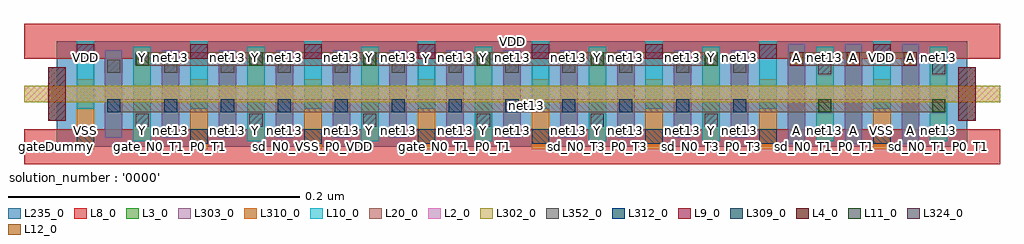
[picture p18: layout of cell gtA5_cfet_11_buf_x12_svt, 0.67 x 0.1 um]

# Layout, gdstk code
import gdstk
lib = gdstk.Library(unit=1e-6, precision=2.5e-10)
def R(c, l, rs):  # rectangles x0, y0, x1, y1
    for r in rs: c.add(gdstk.rectangle(r[:2], r[2:], *l))
def A(c, l, x, y, w, h, nx, ny, dx, dy):  # array of equal rectangles
    R(c, l, [(x+i*dx, y+j*dy, x+i*dx+w, y+j*dy+h) for i in range(nx) for j in range(ny)])
L2_0 = (2, 0)
L3_0 = (3, 0)
L4_0 = (4, 0)
L8_0 = (8, 0)
L9_0 = (9, 0)
L10_0 = (10, 0)
L11_0 = (11, 0)
L12_0 = (12, 0)
L20_0 = (20, 0)
L235_0 = (235, 0)
L302_0 = (302, 0)
L303_0 = (303, 0)
L309_0 = (309, 0)
L310_0 = (310, 0)
L312_0 = (312, 0)
L324_0 = (324, 0)
L352_0 = (352, 0)

gta5_cfet_11_buf_x12_svt = lib.new_cell('gtA5_cfet_11_buf_x12_svt')
R(gta5_cfet_11_buf_x12_svt, L2_0, [(-0.0225,0.0305,0.6465,0.0415)])
A(gta5_cfet_11_buf_x12_svt, L3_0, 0.501, 0.0015, 0.012, 0.069, 3, 1, 0.039, 0)
A(gta5_cfet_11_buf_x12_svt, L3_0, 0.033, 0.006, 0.012, 0.06, 12, 1, 0.039, 0)
R(gta5_cfet_11_buf_x12_svt, L3_0, [(-0.006,0.0175,0.006,0.0545), (0.618,0.0175,0.63,0.0545)])
R(gta5_cfet_11_buf_x12_svt, L4_0, [(-0.006,0.0175,0.006,0.0545), (0.618,0.0175,0.63,0.0545)])
R(gta5_cfet_11_buf_x12_svt, L8_0, [(-0.0225,-0.012,0.6465,0.012), (-0.0225,0.06,0.6465,0.084)])
A(gta5_cfet_11_buf_x12_svt, L9_0, 0.0135, 0.06, 0.012, 0.01, 8, 1, 0.078, 0)
A(gta5_cfet_11_buf_x12_svt, L10_0, 0.0525, 0.0035, 0.012, 0.065, 8, 1, 0.078, 0)
A(gta5_cfet_11_buf_x12_svt, L10_0, 0.0135, 0.026, 0.012, 0.046, 8, 1, 0.078, 0)
A(gta5_cfet_11_buf_x12_svt, L11_0, 0.054, 0.0555, 0.009, 0.009, 6, 1, 0.078, 0)
R(gta5_cfet_11_buf_x12_svt, L11_0, [(0.522,0.0235,0.531,0.0325), (0.6,0.0235,0.609,0.0325)])
A(gta5_cfet_11_buf_x12_svt, L12_0, 0.5025, 0.0555, 0.009, 0.009, 3, 1, 0.039, 0)
R(gta5_cfet_11_buf_x12_svt, L20_0, [(0.0345,0.0235,0.609,0.0325), (0.054,0.0555,0.453,0.0645), (0.5025,0.0555,0.5895,0.0645)])
R(gta5_cfet_11_buf_x12_svt, L235_0, [(0,0,0.624,0.072)])
R(gta5_cfet_11_buf_x12_svt, L302_0, [(-0.0225,0.0305,0.6465,0.0415)])
A(gta5_cfet_11_buf_x12_svt, L303_0, 0.501, 0.0015, 0.012, 0.069, 3, 1, 0.039, 0)
A(gta5_cfet_11_buf_x12_svt, L303_0, 0.033, 0.006, 0.012, 0.06, 12, 1, 0.039, 0)
R(gta5_cfet_11_buf_x12_svt, L303_0, [(-0.006,0.0175,0.006,0.0545), (0.618,0.0175,0.63,0.0545)])
A(gta5_cfet_11_buf_x12_svt, L309_0, 0.0135, 0.002, 0.012, 0.01, 8, 1, 0.078, 0)
A(gta5_cfet_11_buf_x12_svt, L310_0, 0.0135, -0.002, 0.012, 0.048, 8, 1, 0.078, 0)
A(gta5_cfet_11_buf_x12_svt, L310_0, 0.0525, 0.0035, 0.012, 0.065, 8, 1, 0.078, 0)
A(gta5_cfet_11_buf_x12_svt, L312_0, 0.0345, 0.0235, 0.009, 0.009, 12, 1, 0.039, 0)
A(gta5_cfet_11_buf_x12_svt, L324_0, 0.054, 0.0135, 0.009, 0.009, 6, 1, 0.078, 0)
R(gta5_cfet_11_buf_x12_svt, L324_0, [(0.522,0.0495,0.531,0.0585), (0.6,0.0495,0.609,0.0585)])
A(gta5_cfet_11_buf_x12_svt, L352_0, 0.0345, 0.0505, 0.009, 0.009, 12, 1, 0.039, 0)
gta5_cfet_11_buf_x12_svt.add(gdstk.Label('net13', (0.3217,0.028), layer=100, texttype=100))
gta5_cfet_11_buf_x12_svt.add(gdstk.Label('gateDummy', (0,0), layer=103, texttype=103))
gta5_cfet_11_buf_x12_svt.add(gdstk.Label('sd_N0_VSS_P0_VDD', (0.0195,0), layer=103, texttype=103))
gta5_cfet_11_buf_x12_svt.add(gdstk.Label('gate_N0_T1_P0_T1', (0.039,0), layer=103, texttype=103))
gta5_cfet_11_buf_x12_svt.add(gdstk.Label('sd_N0_T3_P0_T3', (0.0585,0), layer=103, texttype=103))
gta5_cfet_11_buf_x12_svt.add(gdstk.Label('gate_N0_T1_P0_T1', (0.078,0), layer=103, texttype=103))
gta5_cfet_11_buf_x12_svt.add(gdstk.Label('sd_N0_VSS_P0_VDD', (0.0975,0), layer=103, texttype=103))
gta5_cfet_11_buf_x12_svt.add(gdstk.Label('gate_N0_T1_P0_T1', (0.117,0), layer=103, texttype=103))
gta5_cfet_11_buf_x12_svt.add(gdstk.Label('sd_N0_T3_P0_T3', (0.1365,0), layer=103, texttype=103))
gta5_cfet_11_buf_x12_svt.add(gdstk.Label('gate_N0_T1_P0_T1', (0.156,0), layer=103, texttype=103))
gta5_cfet_11_buf_x12_svt.add(gdstk.Label('sd_N0_VSS_P0_VDD', (0.1755,0), layer=103, texttype=103))
gta5_cfet_11_buf_x12_svt.add(gdstk.Label('gate_N0_T1_P0_T1', (0.195,0), layer=103, texttype=103))
gta5_cfet_11_buf_x12_svt.add(gdstk.Label('sd_N0_T3_P0_T3', (0.2145,0), layer=103, texttype=103))
gta5_cfet_11_buf_x12_svt.add(gdstk.Label('gate_N0_T1_P0_T1', (0.234,0), layer=103, texttype=103))
gta5_cfet_11_buf_x12_svt.add(gdstk.Label('sd_N0_VSS_P0_VDD', (0.2535,0), layer=103, texttype=103))
gta5_cfet_11_buf_x12_svt.add(gdstk.Label('gate_N0_T1_P0_T1', (0.273,0), layer=103, texttype=103))
gta5_cfet_11_buf_x12_svt.add(gdstk.Label('sd_N0_T3_P0_T3', (0.2925,0), layer=103, texttype=103))
gta5_cfet_11_buf_x12_svt.add(gdstk.Label('gate_N0_T1_P0_T1', (0.312,0), layer=103, texttype=103))
gta5_cfet_11_buf_x12_svt.add(gdstk.Label('sd_N0_VSS_P0_VDD', (0.3315,0), layer=103, texttype=103))
gta5_cfet_11_buf_x12_svt.add(gdstk.Label('gate_N0_T1_P0_T1', (0.351,0), layer=103, texttype=103))
gta5_cfet_11_buf_x12_svt.add(gdstk.Label('sd_N0_T3_P0_T3', (0.3705,0), layer=103, texttype=103))
gta5_cfet_11_buf_x12_svt.add(gdstk.Label('gate_N0_T1_P0_T1', (0.39,0), layer=103, texttype=103))
gta5_cfet_11_buf_x12_svt.add(gdstk.Label('sd_N0_VSS_P0_VDD', (0.4095,0), layer=103, texttype=103))
gta5_cfet_11_buf_x12_svt.add(gdstk.Label('gate_N0_T1_P0_T1', (0.429,0), layer=103, texttype=103))
gta5_cfet_11_buf_x12_svt.add(gdstk.Label('sd_N0_T3_P0_T3', (0.4485,0), layer=103, texttype=103))
gta5_cfet_11_buf_x12_svt.add(gdstk.Label('gate_N0_T1_P0_T1', (0.468,0), layer=103, texttype=103))
gta5_cfet_11_buf_x12_svt.add(gdstk.Label('sd_N0_VSS_P0_VDD', (0.4875,0), layer=103, texttype=103))
gta5_cfet_11_buf_x12_svt.add(gdstk.Label('gate_N0_T3_P0_T3', (0.507,0), layer=103, texttype=103))
gta5_cfet_11_buf_x12_svt.add(gdstk.Label('sd_N0_T1_P0_T1', (0.5265,0), layer=103, texttype=103))
gta5_cfet_11_buf_x12_svt.add(gdstk.Label('gate_N0_T3_P0_T3', (0.546,0), layer=103, texttype=103))
gta5_cfet_11_buf_x12_svt.add(gdstk.Label('sd_N0_VSS_P0_VDD', (0.5655,0), layer=103, texttype=103))
gta5_cfet_11_buf_x12_svt.add(gdstk.Label('gate_N0_T3_P0_T3', (0.585,0), layer=103, texttype=103))
gta5_cfet_11_buf_x12_svt.add(gdstk.Label('sd_N0_T1_P0_T1', (0.6045,0), layer=103, texttype=103))
gta5_cfet_11_buf_x12_svt.add(gdstk.Label('gateDummy', (0.624,0), layer=103, texttype=103))
gta5_cfet_11_buf_x12_svt.add(gdstk.Label('}', (0,-0.0785), layer=104, texttype=104))
gta5_cfet_11_buf_x12_svt.add(gdstk.Label('  power : None', (0,-0.0713), layer=104, texttype=104))
gta5_cfet_11_buf_x12_svt.add(gdstk.Label('  performance : None', (0,-0.0643), layer=104, texttype=104))
gta5_cfet_11_buf_x12_svt.add(gdstk.Label("  solution_hash : '7558278892173468965'", (0,-0.057), layer=104, texttype=104))
gta5_cfet_11_buf_x12_svt.add(gdstk.Label('  number_m2 : 0', (0,-0.05), layer=104, texttype=104))
gta5_cfet_11_buf_x12_svt.add(gdstk.Label('  number_m1 : 0', (0,-0.0428), layer=104, texttype=104))
gta5_cfet_11_buf_x12_svt.add(gdstk.Label('  number_m0cuts : 0', (0,-0.0358), layer=104, texttype=104))
gta5_cfet_11_buf_x12_svt.add(gdstk.Label('  number_m0 : 3', (0,-0.0285), layer=104, texttype=104))
gta5_cfet_11_buf_x12_svt.add(gdstk.Label("  solution_number : '0000'", (0,-0.0215), layer=104, texttype=104))
gta5_cfet_11_buf_x12_svt.add(gdstk.Label("  placement_id : '15716243056672750085'", (0,-0.0143), layer=104, texttype=104))
gta5_cfet_11_buf_x12_svt.add(gdstk.Label('{', (0,-0.0073), layer=104, texttype=104))
gta5_cfet_11_buf_x12_svt.add(gdstk.Label('VSS', (0.0195,0.0108), layer=105, texttype=105))
gta5_cfet_11_buf_x12_svt.add(gdstk.Label('net13', (0.039,0.0108), layer=105, texttype=105))
gta5_cfet_11_buf_x12_svt.add(gdstk.Label('Y', (0.0585,0.0108), layer=105, texttype=105))
gta5_cfet_11_buf_x12_svt.add(gdstk.Label('net13', (0.078,0.0108), layer=105, texttype=105))
gta5_cfet_11_buf_x12_svt.add(gdstk.Label('VSS', (0.0975,0.0108), layer=105, texttype=105))
gta5_cfet_11_buf_x12_svt.add(gdstk.Label('net13', (0.117,0.0108), layer=105, texttype=105))
gta5_cfet_11_buf_x12_svt.add(gdstk.Label('Y', (0.1365,0.0108), layer=105, texttype=105))
gta5_cfet_11_buf_x12_svt.add(gdstk.Label('net13', (0.156,0.0108), layer=105, texttype=105))
gta5_cfet_11_buf_x12_svt.add(gdstk.Label('VSS', (0.1755,0.0108), layer=105, texttype=105))
gta5_cfet_11_buf_x12_svt.add(gdstk.Label('net13', (0.195,0.0108), layer=105, texttype=105))
gta5_cfet_11_buf_x12_svt.add(gdstk.Label('Y', (0.2145,0.0108), layer=105, texttype=105))
gta5_cfet_11_buf_x12_svt.add(gdstk.Label('net13', (0.234,0.0108), layer=105, texttype=105))
gta5_cfet_11_buf_x12_svt.add(gdstk.Label('VSS', (0.2535,0.0108), layer=105, texttype=105))
gta5_cfet_11_buf_x12_svt.add(gdstk.Label('net13', (0.273,0.0108), layer=105, texttype=105))
gta5_cfet_11_buf_x12_svt.add(gdstk.Label('Y', (0.2925,0.0108), layer=105, texttype=105))
gta5_cfet_11_buf_x12_svt.add(gdstk.Label('net13', (0.312,0.0108), layer=105, texttype=105))
gta5_cfet_11_buf_x12_svt.add(gdstk.Label('VSS', (0.3315,0.0108), layer=105, texttype=105))
gta5_cfet_11_buf_x12_svt.add(gdstk.Label('net13', (0.351,0.0108), layer=105, texttype=105))
gta5_cfet_11_buf_x12_svt.add(gdstk.Label('Y', (0.3705,0.0108), layer=105, texttype=105))
gta5_cfet_11_buf_x12_svt.add(gdstk.Label('net13', (0.39,0.0108), layer=105, texttype=105))
gta5_cfet_11_buf_x12_svt.add(gdstk.Label('VSS', (0.4095,0.0108), layer=105, texttype=105))
gta5_cfet_11_buf_x12_svt.add(gdstk.Label('net13', (0.429,0.0108), layer=105, texttype=105))
gta5_cfet_11_buf_x12_svt.add(gdstk.Label('Y', (0.4485,0.0108), layer=105, texttype=105))
gta5_cfet_11_buf_x12_svt.add(gdstk.Label('net13', (0.468,0.0108), layer=105, texttype=105))
gta5_cfet_11_buf_x12_svt.add(gdstk.Label('VSS', (0.4875,0.0108), layer=105, texttype=105))
gta5_cfet_11_buf_x12_svt.add(gdstk.Label('A', (0.507,0.0108), layer=105, texttype=105))
gta5_cfet_11_buf_x12_svt.add(gdstk.Label('net13', (0.5265,0.0108), layer=105, texttype=105))
gta5_cfet_11_buf_x12_svt.add(gdstk.Label('A', (0.546,0.0108), layer=105, texttype=105))
gta5_cfet_11_buf_x12_svt.add(gdstk.Label('VSS', (0.5655,0.0108), layer=105, texttype=105))
gta5_cfet_11_buf_x12_svt.add(gdstk.Label('A', (0.585,0.0108), layer=105, texttype=105))
gta5_cfet_11_buf_x12_svt.add(gdstk.Label('net13', (0.6045,0.0108), layer=105, texttype=105))
gta5_cfet_11_buf_x12_svt.add(gdstk.Label('VDD', (0.0195,0.0612), layer=105, texttype=105))
gta5_cfet_11_buf_x12_svt.add(gdstk.Label('net13', (0.039,0.0612), layer=105, texttype=105))
gta5_cfet_11_buf_x12_svt.add(gdstk.Label('Y', (0.0585,0.0612), layer=105, texttype=105))
gta5_cfet_11_buf_x12_svt.add(gdstk.Label('net13', (0.078,0.0612), layer=105, texttype=105))
gta5_cfet_11_buf_x12_svt.add(gdstk.Label('VDD', (0.0975,0.0612), layer=105, texttype=105))
gta5_cfet_11_buf_x12_svt.add(gdstk.Label('net13', (0.117,0.0612), layer=105, texttype=105))
gta5_cfet_11_buf_x12_svt.add(gdstk.Label('Y', (0.1365,0.0612), layer=105, texttype=105))
gta5_cfet_11_buf_x12_svt.add(gdstk.Label('net13', (0.156,0.0612), layer=105, texttype=105))
gta5_cfet_11_buf_x12_svt.add(gdstk.Label('VDD', (0.1755,0.0612), layer=105, texttype=105))
gta5_cfet_11_buf_x12_svt.add(gdstk.Label('net13', (0.195,0.0612), layer=105, texttype=105))
gta5_cfet_11_buf_x12_svt.add(gdstk.Label('Y', (0.2145,0.0612), layer=105, texttype=105))
gta5_cfet_11_buf_x12_svt.add(gdstk.Label('net13', (0.234,0.0612), layer=105, texttype=105))
gta5_cfet_11_buf_x12_svt.add(gdstk.Label('VDD', (0.2535,0.0612), layer=105, texttype=105))
gta5_cfet_11_buf_x12_svt.add(gdstk.Label('net13', (0.273,0.0612), layer=105, texttype=105))
gta5_cfet_11_buf_x12_svt.add(gdstk.Label('Y', (0.2925,0.0612), layer=105, texttype=105))
gta5_cfet_11_buf_x12_svt.add(gdstk.Label('net13', (0.312,0.0612), layer=105, texttype=105))
gta5_cfet_11_buf_x12_svt.add(gdstk.Label('VDD', (0.3315,0.0612), layer=105, texttype=105))
gta5_cfet_11_buf_x12_svt.add(gdstk.Label('net13', (0.351,0.0612), layer=105, texttype=105))
gta5_cfet_11_buf_x12_svt.add(gdstk.Label('Y', (0.3705,0.0612), layer=105, texttype=105))
gta5_cfet_11_buf_x12_svt.add(gdstk.Label('net13', (0.39,0.0612), layer=105, texttype=105))
gta5_cfet_11_buf_x12_svt.add(gdstk.Label('VDD', (0.4095,0.0612), layer=105, texttype=105))
gta5_cfet_11_buf_x12_svt.add(gdstk.Label('net13', (0.429,0.0612), layer=105, texttype=105))
gta5_cfet_11_buf_x12_svt.add(gdstk.Label('Y', (0.4485,0.0612), layer=105, texttype=105))
gta5_cfet_11_buf_x12_svt.add(gdstk.Label('net13', (0.468,0.0612), layer=105, texttype=105))
gta5_cfet_11_buf_x12_svt.add(gdstk.Label('VDD', (0.4875,0.0612), layer=105, texttype=105))
gta5_cfet_11_buf_x12_svt.add(gdstk.Label('A', (0.507,0.0612), layer=105, texttype=105))
gta5_cfet_11_buf_x12_svt.add(gdstk.Label('net13', (0.5265,0.0612), layer=105, texttype=105))
gta5_cfet_11_buf_x12_svt.add(gdstk.Label('A', (0.546,0.0612), layer=105, texttype=105))
gta5_cfet_11_buf_x12_svt.add(gdstk.Label('VDD', (0.5655,0.0612), layer=105, texttype=105))
gta5_cfet_11_buf_x12_svt.add(gdstk.Label('A', (0.585,0.0612), layer=105, texttype=105))
gta5_cfet_11_buf_x12_svt.add(gdstk.Label('net13', (0.6045,0.0612), layer=105, texttype=105))
gta5_cfet_11_buf_x12_svt.add(gdstk.Label('VSS', (0.312,0), layer=8, texttype=0))
gta5_cfet_11_buf_x12_svt.add(gdstk.Label('VDD', (0.312,0.072), layer=8, texttype=0))
gta5_cfet_11_buf_x12_svt.add(gdstk.Label('Y', (0.2535,0.06), layer=20, texttype=251))
gta5_cfet_11_buf_x12_svt.add(gdstk.Label('A', (0.546,0.06), layer=20, texttype=251))
gta5_cfet_11_buf_x12_svt.add(gdstk.Label('gtA5_cfet_11_buf_x12_rvt_0', (0,0), layer=235, texttype=0))

lib.write_gds('gtA5_cfet_11_buf_x12_svt.gds')
